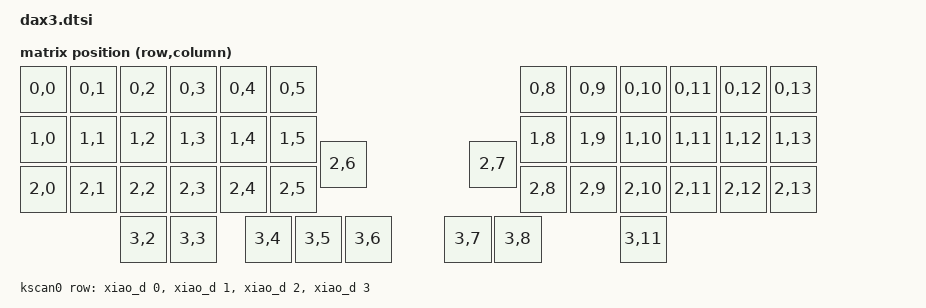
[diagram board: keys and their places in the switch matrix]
#include <dt-bindings/zmk/matrix_transform.h>
#include <physical_layouts.dtsi>

/ {
    chosen {
      zmk,physical-layout = &dax3_physical_layout;
    };

    dax3_physical_layout: dax3_physical_layout {
      compatible = "zmk,physical-layout";
      display-name = "Default";
      transform = <&default_transform>;
      kscan = <&kscan0>;

      keys //                    w   h    x    y  rot rx ry
        // Row 0
        = <&key_physical_attrs 100 100    0    0   0  0  0>  //  0: Row0-Col0
        , <&key_physical_attrs 100 100  100    0   0  0  0>  //  1: Row0-Col1
        , <&key_physical_attrs 100 100  200    0   0  0  0>  //  2: Row0-Col2
        , <&key_physical_attrs 100 100  300    0   0  0  0>  //  3: Row0-Col3
        , <&key_physical_attrs 100 100  400    0   0  0  0>  //  4: Row0-Col4
        , <&key_physical_attrs 100 100  500    0   0  0  0>  //  5: Row0-Col5
        , <&key_physical_attrs 100 100 1000    0   0  0  0>  //  6: Row0-Col8
        , <&key_physical_attrs 100 100 1100    0   0  0  0>  //  7: Row0-Col9
        , <&key_physical_attrs 100 100 1200    0   0  0  0>  //  8: Row0-Col10
        , <&key_physical_attrs 100 100 1300    0   0  0  0>  //  9: Row0-Col11
        , <&key_physical_attrs 100 100 1400    0   0  0  0>  // 10: Row0-Col12
        , <&key_physical_attrs 100 100 1500    0   0  0  0>  // 11: Row0-Col13
        // Row 1
        , <&key_physical_attrs 100 100    0  100   0  0  0>  // 12: Row1-Col0
        , <&key_physical_attrs 100 100  100  100   0  0  0>  // 13: Row1-Col1
        , <&key_physical_attrs 100 100  200  100   0  0  0>  // 14: Row1-Col2
        , <&key_physical_attrs 100 100  300  100   0  0  0>  // 15: Row1-Col3
        , <&key_physical_attrs 100 100  400  100   0  0  0>  // 16: Row1-Col4
        , <&key_physical_attrs 100 100  500  100   0  0  0>  // 17: Row1-Col5
        , <&key_physical_attrs 100 100 1000  100   0  0  0>  // 18: Row1-Col8
        , <&key_physical_attrs 100 100 1100  100   0  0  0>  // 19: Row1-Col9
        , <&key_physical_attrs 100 100 1200  100   0  0  0>  // 20: Row1-Col10
        , <&key_physical_attrs 100 100 1300  100   0  0  0>  // 21: Row1-Col11
        , <&key_physical_attrs 100 100 1400  100   0  0  0>  // 22: Row1-Col12
        , <&key_physical_attrs 100 100 1500  100   0  0  0>  // 23: Row1-Col13
        // Row 2
        , <&key_physical_attrs 100 100    0  200   0  0  0>  // 24: Row2-Col0
        , <&key_physical_attrs 100 100  100  200   0  0  0>  // 25: Row2-Col1
        , <&key_physical_attrs 100 100  200  200   0  0  0>  // 26: Row2-Col2
        , <&key_physical_attrs 100 100  300  200   0  0  0>  // 27: Row2-Col3
        , <&key_physical_attrs 100 100  400  200   0  0  0>  // 28: Row2-Col4
        , <&key_physical_attrs 100 100  500  200   0  0  0>  // 29: Row2-Col5
        , <&key_physical_attrs 100 100  600  150   0  0  0>  // 30: Row2-Col6
        , <&key_physical_attrs 100 100  900  150   0  0  0>  // 31: Row2-Col7
        , <&key_physical_attrs 100 100 1000  200   0  0  0>  // 32: Row2-Col8
        , <&key_physical_attrs 100 100 1100  200   0  0  0>  // 33: Row2-Col9
        , <&key_physical_attrs 100 100 1200  200   0  0  0>  // 34: Row2-Col10
        , <&key_physical_attrs 100 100 1300  200   0  0  0>  // 35: Row2-Col11
        , <&key_physical_attrs 100 100 1400  200   0  0  0>  // 36: Row2-Col12
        , <&key_physical_attrs 100 100 1500  200   0  0  0>  // 37: Row2-Col13
        // Row 3
        , <&key_physical_attrs 100 100  200  300   0  0  0>  // 38: Row3-Col2
        , <&key_physical_attrs 100 100  300  300   0  0  0>  // 39: Row3-Col3
        , <&key_physical_attrs 100 100  450  300   0  0  0>  // 40: Row3-Col4
        , <&key_physical_attrs 100 100  550  300   0  0  0>  // 41: Row3-Col5
        , <&key_physical_attrs 100 100  650  300   0  0  0>  // 42: Row3-Col6
        , <&key_physical_attrs 100 100  850  300   0  0  0>  // 43: Row3-Col7
        , <&key_physical_attrs 100 100  950  300   0  0  0>  // 44: Row3-Col8
        , <&key_physical_attrs 100 100 1200  300   0  0  0>  // 45: Row3-Col11
        ;
    };

    default_transform: keymap_transform_0 {
      compatible = "zmk,matrix-transform";
      columns = <14>;
      rows = <4>;
      map = <
        RC(0,0) RC(0,1) RC(0,2) RC(0,3) RC(0,4) RC(0,5)                    RC(0,8) RC(0,9) RC(0,10) RC(0,11) RC(0,12) RC(0,13)
        RC(1,0) RC(1,1) RC(1,2) RC(1,3) RC(1,4) RC(1,5)                    RC(1,8) RC(1,9) RC(1,10) RC(1,11) RC(1,12) RC(1,13)
        RC(2,0) RC(2,1) RC(2,2) RC(2,3) RC(2,4) RC(2,5) RC(2,6)    RC(2,7) RC(2,8) RC(2,9) RC(2,10) RC(2,11) RC(2,12) RC(2,13)
                        RC(3,2) RC(3,3) RC(3,4) RC(3,5) RC(3,6)    RC(3,7) RC(3,8)                  RC(3,11)
      >;
    };

    kscan0: kscan {
      compatible = "zmk,kscan-gpio-matrix";
      label = "KSCAN";
      diode-direction = "col2row";
      row-gpios
        = <&xiao_d 0 (GPIO_ACTIVE_HIGH | GPIO_PULL_DOWN)>  // D0/P0.02 -> Row0
        , <&xiao_d 1 (GPIO_ACTIVE_HIGH | GPIO_PULL_DOWN)>  // D1/P0.03 -> Row1
        , <&xiao_d 2 (GPIO_ACTIVE_HIGH | GPIO_PULL_DOWN)>  // D2/P0.28 -> Row2
        , <&xiao_d 3 (GPIO_ACTIVE_HIGH | GPIO_PULL_DOWN)>  // D3/P0.29 -> Row3
        ;
    };

    left_encoder: encoder_left {
      compatible = "alps,ec11";
      steps = <80>;
      status = "disabled";
    };

    right_encoder: encoder_right {
      compatible = "alps,ec11";
      steps = <80>;
      status = "disabled";
    };

    sensors: sensors {
      compatible = "zmk,keymap-sensors";
      sensors = <&left_encoder &right_encoder>;
      triggers-per-rotation = <30>;
    };
};
